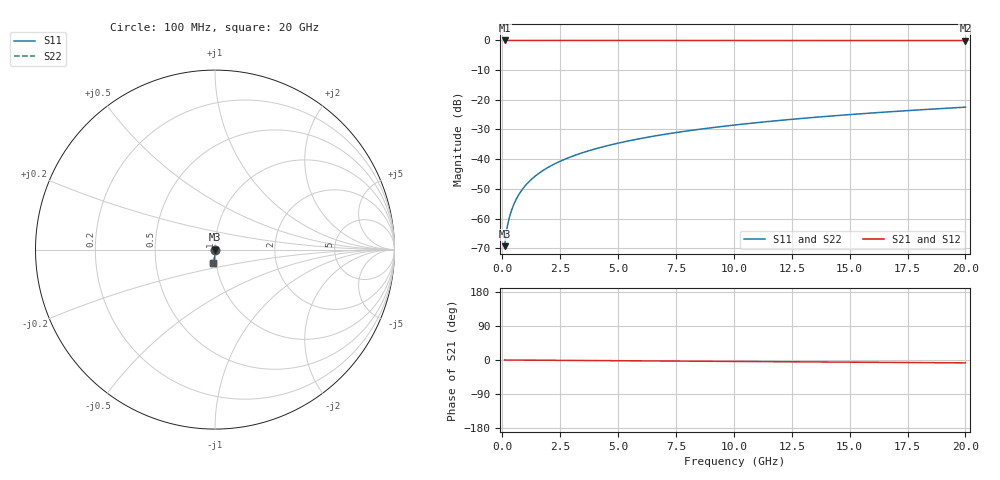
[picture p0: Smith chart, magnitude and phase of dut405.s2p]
! Touchstone file exported from HFSS 2026.1.0
!  File:  C:/ffzhzh/LocalFiles/Ansys_Project_Files/temp_train_TSV_405_1783020387_53980.aedt
!  Generated:  03:28:01 AM Jul  3, 2026
!  Design:  TSV
!  Project:  temp_train_TSV_405_1783020387_53980
! Variables:
!  h_bsmrdl = 2um
!  h_ox = 20um
!  h_rdl = 5um
!  h_sub = 64.57um
!  h_tmrdl = 5um
!  h_tsv = 64.57um
!  h_via = 3um
!  l_bsmrdl = 300um
!  l_sub = 429.66um
!  l_tmrdl = 200um
!  m_sub = 200um
!  pitch = 37.24um
!  r_tsv = 14.83um
!  s_tmrdl = 10um
!  w_bsmrdl = 18um
!  w_sub = 500um
!  w_tmrdl = 12um
!  x_tsv_center1 = 206um
!  x_tsv_center2 = 524um
!  x_tsv_center3 = 736um
!  x_tsv_center4 = 1054um
!  x_tsv_center5 = 1266um
!  x_tsv_center6 = 1584um
# GHz S MA R 50.000000
! Terminal data exported
! Port[1] = TSV1_1_T1
! Port[2] = TSV1_1_T2
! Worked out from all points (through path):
!   200 points, 100 MHz to 20 GHz, reference 50 ohm
!   highest |S21| = 0.00 dB at 100 MHz (marker M1); lowest = 0.0 dB at 20 GHz (marker M2)
!   group delay of S21, straight-line fit = 1.05 ps
!   lowest |S11| = -69.3 dB at 100 MHz (marker M3), VSWR 1.00, Z = 50 - j0.0335 ohm
!   |S11| at or under -10 dB: start of sweep to end of sweep
!   |S22| runs from -69.3 to -22.5 dB; largest |S21 - S12| = 2.1e-15
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0.1  0.0003422 -78.0  0.9999 -0.0  0.9999 -0.0  0.0003422 -78.0
! Gamma 0 0 0 0
! Port Impedance 50 0 50 0
0.2  0.0006793 -82.8  0.9999 -0.1  0.9999 -0.1  0.0006793 -82.8
0.3  0.001026 -84.1  0.9999 -0.1  0.9999 -0.1  0.001026 -84.1
0.4  0.001381 -84.7  0.9999 -0.2  0.9999 -0.2  0.001381 -84.7
0.5  0.001742 -85.1  0.9998 -0.2  0.9998 -0.2  0.001742 -85.1
0.7  0.00248 -85.7  0.9998 -0.3  0.9998 -0.3  0.00248 -85.7
0.8  0.002852 -86.0  0.9998 -0.3  0.9998 -0.3  0.002852 -86.0
1  0.003601 -86.5  0.9997 -0.4  0.9997 -0.4  0.003601 -86.5
1.2  0.004352 -86.9  0.9997 -0.5  0.9997 -0.5  0.004352 -86.9
1.4  0.005102 -87.3  0.9997 -0.5  0.9997 -0.5  0.005102 -87.3
1.7  0.006228 -87.8  0.9997 -0.7  0.9997 -0.7  0.006228 -87.8
2  0.007352 -88.2  0.9996 -0.8  0.9996 -0.8  0.007352 -88.2
2.7  0.009976 -88.9  0.9996 -1.0  0.9996 -1.0  0.009976 -88.9
3.5  0.01298 -89.5  0.9995 -1.3  0.9995 -1.3  0.01298 -89.5
4.2  0.01561 -89.9  0.9994 -1.6  0.9994 -1.6  0.01561 -89.9
5  0.01862 -90.4  0.9993 -1.9  0.9993 -1.9  0.01862 -90.4
6.8  0.02541 -91.2  0.9991 -2.6  0.9991 -2.6  0.02541 -91.2
8.3  0.03108 -91.9  0.9989 -3.2  0.9989 -3.2  0.03108 -91.9
10.1  0.03788 -92.7  0.9986 -3.8  0.9986 -3.8  0.03788 -92.7
13.4  0.05034 -94.1  0.9979 -5.1  0.9979 -5.1  0.05034 -94.1
16.7  0.06277 -95.5  0.9971 -6.3  0.9971 -6.3  0.06277 -95.5
20  0.07518 -96.8  0.9961 -7.6  0.9961 -7.6  0.07518 -96.8
